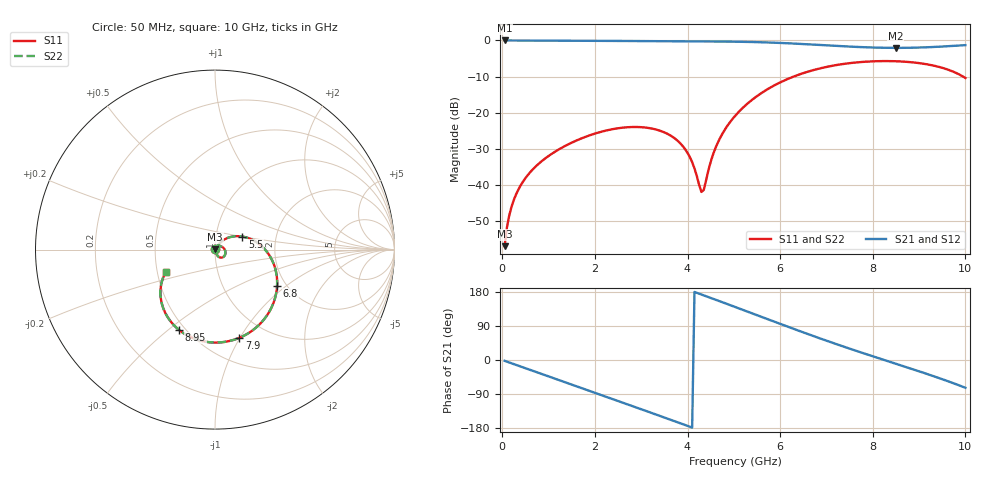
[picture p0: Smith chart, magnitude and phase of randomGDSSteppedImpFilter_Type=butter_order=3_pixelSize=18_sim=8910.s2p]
! freq	dB(S11)	phase(S11)	dB(S12)	phase(S12)
!  dB(S21)	phase(S21)	dB(S22)	phase(S22)
!S-par simulation data
#  GHz  S  DB  R 50
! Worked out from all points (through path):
!   200 points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, 50 MHz to 10 GHz, reference 50 ohm
!   highest |S21| = 0.00 dB at 50 MHz (marker M1); lowest = -2.1 dB at 8.5 GHz (marker M2)
!   group delay of S21, straight-line fit = 121 ps
!   lowest |S11| = -57.0 dB at 50 MHz (marker M3), VSWR 1.00, Z = 50 + j0.133 ohm
!   |S11| at or under -10 dB: start of sweep to 6.293 GHz; 9.949 GHz to end of sweep
!   |S22| runs from -57.0 to -5.7 dB; largest |S21 - S12| = 0
!   S11 on the Smith chart (normalised r, x): 50 MHz: 1.00, +0.00; 5.5 GHz: 1.34, +0.20; 6.8 GHz: 1.79, -0.87; 7.9 GHz: 0.75, -0.99; 8.95 GHz: 0.46, -0.54; 10 GHz: 0.55, -0.15
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0.05  -57.00 70.8  -0.00 -2.2  -0.00 -2.2  -57.00 70.8
0.1  -51.82 75.8  -0.01 -4.4  -0.01 -4.4  -51.82 75.8
0.2  -46.06 76.5  -0.02 -8.7  -0.02 -8.7  -46.06 76.5
0.5  -38.15 67.2  -0.03 -21.7  -0.03 -21.7  -38.15 67.1
1.15  -30.74 41.4  -0.06 -49.8  -0.06 -49.8  -30.74 41.3
1.75  -26.93 16.4  -0.09 -75.7  -0.09 -75.7  -26.94 16.3
2.55  -24.24 -17.5  -0.14 -110.3  -0.14 -110.3  -24.25 -17.7
3.4  -24.99 -52.2  -0.20 -147.4  -0.20 -147.4  -24.99 -52.4
3.95  -30.17 -69.0  -0.23 -171.6  -0.23 -171.6  -30.18 -69.4
4.1  -33.73 -67.8  -0.24 -178.2  -0.24 -178.2  -33.75 -68.2
4.3  -41.98 -20.0  -0.25 172.8  -0.25 172.8  -42.15 -20.3
4.65  -28.43 54.0  -0.28 157.1  -0.28 157.1  -28.43 54.2
5.05  -20.57 43.4  -0.35 138.9  -0.35 138.9  -20.57 43.4
5.5  -15.42 25.4  -0.47 118.3  -0.47 118.3  -15.42 25.4
6.1  -11.03 -0.4  -0.74 90.8  -0.74 90.8  -11.03 -0.4
6.7  -8.28 -26.2  -1.14 64.0  -1.14 64.0  -8.28 -26.2
6.8  -7.94 -30.4  -1.21 59.6  -1.21 59.6  -7.94 -30.5
7.9  -5.85 -74.6  -1.92 13.8  -1.92 13.8  -5.85 -74.7
8.35  -5.72 -91.7  -2.05 -4.0  -2.05 -4.0  -5.72 -91.7
8.5  -5.76 -97.3  -2.06 -9.9  -2.06 -9.9  -5.76 -97.4
8.95  -6.20 -114.2  -1.99 -27.8  -1.99 -27.8  -6.20 -114.3
10  -10.40 -155.3  -1.30 -73.2  -1.30 -73.2  -10.40 -155.5
